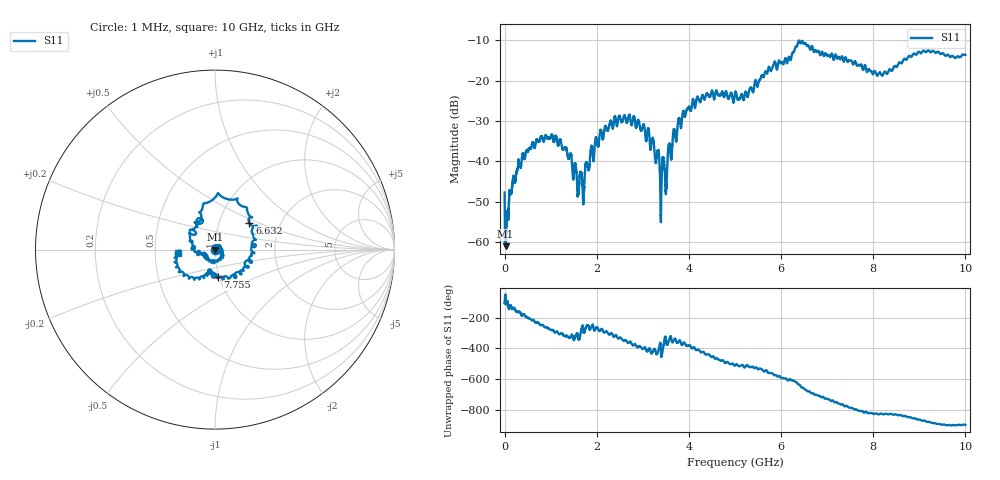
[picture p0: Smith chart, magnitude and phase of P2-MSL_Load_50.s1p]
! 2/19/2018 12:59:11 PM
! E:\STEPPED_EXPERIMENT_2018-02-19\P2-MSL_LOAD_50.S1P
! CHANNEL.1
! TR.MEASUREMENT
! CORRECTED.DATA
# GHZ S RI R 50.0
! FREQ.GHZ  S22RE  S22IM
!; PortSelection: Port_2
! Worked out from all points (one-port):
!   10000 points, 1 MHz to 10 GHz, reference 50 ohm
!   lowest |S11| = -61.0 dB at 21 MHz (marker M1), VSWR 1.00, Z = 50 - j0.0833 ohm
!   |S11| at or under -10 dB: start of sweep to end of sweep
!   S11 on the Smith chart (normalised r, x): 1 MHz: 1.00, -0.01; 6.632 GHz: 1.39, +0.44; 7.755 GHz: 0.99, -0.31; 10 GHz: 0.65, -0.02
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0.001  -0.00123 -0.00393
0.021  0.000326 -0.000833
0.055  -0.000602 -0.00218
0.149  -0.00282 -0.00303
0.29  -0.00812 -0.00235
0.578  -0.0122 0.00825
0.996  0.00321 0.0195
1.251  0.00852 0.0119
1.592  0.00314 0.00212
1.698  -0.000904 0.004
2.01  -0.00186 0.0173
2.501  0.0315 0.0175
3.006  0.0201 -0.0191
3.224  0.0108 -0.0156
3.41  0.000426 -0.0068
3.503  0.00402 0.000665
3.573  0.0158 0.00515
3.751  0.0259 -0.00171
4.198  0.0425 -0.0451
5.001  -0.0608 -0.0338
6.251  -0.0873 0.2078
6.416  0.0541 0.2863
6.632  0.1915 0.149
7.501  0.0769 -0.1612
7.755  0.0159 -0.1517
8.2  -0.0305 -0.1115
8.751  -0.1112 -0.1585
10  -0.2088 -0.0182
